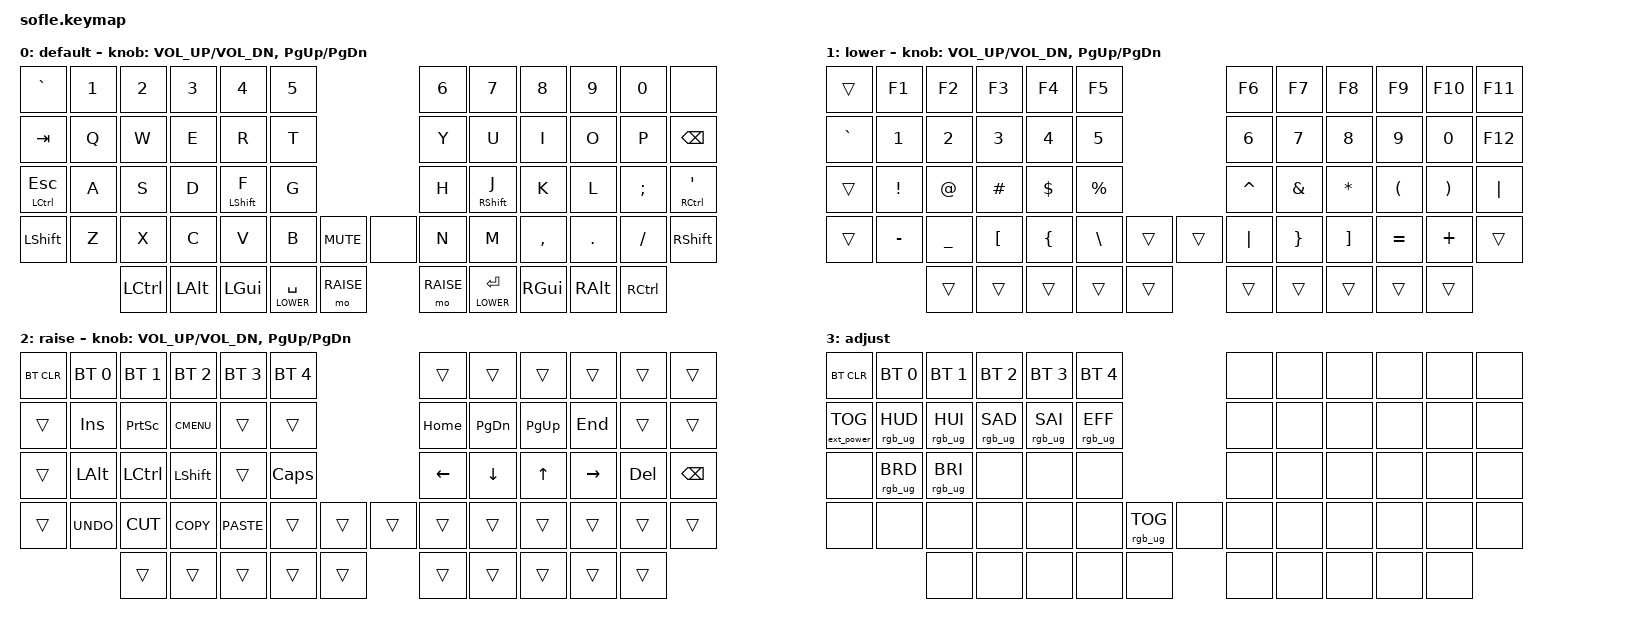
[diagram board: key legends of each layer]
/*
 * Copyright (c) 2020 The ZMK Contributors
 *
 * SPDX-License-Identifier: MIT
 */

#include <behaviors.dtsi>
#include <dt-bindings/zmk/keys.h>
#include <dt-bindings/zmk/bt.h>
#include <dt-bindings/zmk/rgb.h>
#include <dt-bindings/zmk/ext_power.h>

#define BASE 0
#define LOWER 1
#define RAISE 2
#define ADJUST 3
#define QUICK_TAP_MS 175

&mt {
  flavor = "balanced";
  tapping-term-ms = <200>;
  quick-tap-ms = <QUICK_TAP_MS>;
};


/ {
    combos {
        compatible = "zmk,combos";
        combo_studio_unlock {
            timeout-ms = <50>;
            key-positions = <0 1>;
            bindings = <&studio_unlock>;
        };
    };
};

/ {

   // Activate ADJUST layer by pressing raise and lower
    conditional_layers {
        compatible = "zmk,conditional-layers";
        adjust_layer {
            if-layers = <LOWER RAISE>;
            then-layer = <ADJUST>;
        };
    };

    keymap {
        compatible = "zmk,keymap";

        default_layer {
            display-name = "default";
// ------------------------------------------------------------------------------------------------------------
// |   `    |  1  |  2  |  3   |  4   |     5     |                   |     6     |  7    |  8    |  9   |   0   |       |
// |  TAB   |  Q  |  W  |  E   |  R   |     T     |                   |     Y     |  U    |  I    |  O   |   P   | BKSPC |
// | C/ESC  |  A  |  S  |  D   |Sht/F |     G     |                   |     H     | Sht/J |  K    |  L   |   ;   |   '   |
// | SHIFT  |  Z  |  X  |  C   |  V   |     B     |  MUTE  |  |       |     N     |  M    |  ,    |  .   |   /   | SHIFT |
//                | GUI | ALT  | CTRL | LWR/SPACE |  RAISE |  | RAISE | LWR/ENTER | CTRL  | ALT   | GUI  |
            bindings = <
&kp GRAVE      &kp N1 &kp N2       &kp N3       &kp N4       &kp N5                                   &kp N6       &kp N7      &kp N8    &kp N9   &kp N0   &none
&kp TAB        &kp Q  &kp W        &kp E        &kp R        &kp T                                    &kp Y        &kp U       &kp I     &kp O    &kp P    &kp BSPC
&mt LCTRL ESC  &kp A  &kp S        &kp D        &mt LSHFT F  &kp G                                    &kp H        &mt RSHFT J &kp K     &kp L    &kp SEMI &mt RCTRL SQT
&kp LSHFT      &kp Z  &kp X        &kp C        &kp V        &kp B              &kp C_MUTE  &none     &kp N        &kp M       &kp COMMA &kp DOT  &kp FSLH &kp RSHFT
                      &kp LCTRL    &kp LALT     &kp LGUI     &lt LOWER SPACE    &mo RAISE   &mo RAISE &lt LOWER RET      &kp RGUI    &kp RALT  &kp RCTRL
            >;

            sensor-bindings = <&inc_dec_kp C_VOL_UP C_VOL_DN &inc_dec_kp PG_UP PG_DN>;
        };

        lower_layer {
            display-name = "lower";
// TODO: Some binds are waiting for shifted keycode support.
// ------------------------------------------------------------------------------------------------------------
// |       |  F1 |  F2 |  F3  |  F4  |  F5  |                   |  F6  |  F7   |  F8   |  F9  |  F10  |  F11  |
// |   `   |  1  |  2  |  3   |  4   |  5   |                   |  6   |  7    |  8    |  9   |   0   |  F12  |
// |       |  !  |  @  |  #   |  $   |  %   |                   |  ^   |  &    |  *    |  (   |   )   |   |   |
// |       |  -  |  _  |  [   |  {   |  \   |        |  |       |  |   |  }    |  ]    |  =   |   +   |       |
//               |     |      |      |      |        |  |       |      |       |       |      |
            bindings = <
&trans    &kp F1    &kp F2    &kp F3      &kp F4    &kp F5                    &kp F6    &kp F7   &kp F8    &kp F9    &kp F10   &kp F11
&kp GRAVE &kp N1    &kp N2    &kp N3      &kp N4    &kp N5                    &kp N6    &kp N7   &kp N8    &kp N9    &kp N0    &kp F12
&trans    &kp EXCL  &kp AT    &kp HASH    &kp DLLR  &kp PRCNT                 &kp CARET &kp AMPS &kp ASTRK &kp LPAR  &kp RPAR  &kp PIPE
&trans    &kp MINUS &kp UNDER &kp LBKT    &kp LBRC  &kp BSLH   &trans  &trans &kp PIPE  &kp RBRC &kp RBKT  &kp EQUAL &kp PLUS  &trans
                    &trans    &trans      &trans    &trans     &trans &trans  &trans    &trans   &trans    &trans
            >;

            sensor-bindings = <&inc_dec_kp C_VOL_UP C_VOL_DN &inc_dec_kp PG_UP PG_DN>;
        };

        raise_layer {
            display-name = "raise";
// ------------------------------------------------------------------------------------------------------------
// | BTCLR | BT1  | BT2  |  BT3  |  BT4  |  BT5 |                |      |      |      |     |       |       |
// |       | INS  | PSCR | GUI   |       |      |                | HOME | PGUP | PGDN | END |       |       |
// |       | ALT  | CTRL | SHIFT |       | CAPS |                |  <-  |   v  |  ^   |  >  |  DEL  | BKSPC |
// |       | UNDO | CUT  | COPY  | PASTE |      |      |  |      |      |      |      |     |       |       |
//                |      |       |       |      |      |  |      |      |      |      |     |
            bindings = <
&bt BT_CLR &bt BT_SEL 0 &bt BT_SEL 1 &bt BT_SEL 2 &bt BT_SEL 3 &bt BT_SEL 4                  &trans     &trans    &trans     &trans    &trans  &trans
&trans     &kp INS      &kp PSCRN    &kp K_CMENU  &trans       &trans                        &kp HOME   &kp PG_DN &kp PG_UP  &kp END   &trans  &trans
&trans     &kp LALT     &kp LCTRL    &kp LSHFT    &trans       &kp CLCK                      &kp LEFT   &kp DOWN  &kp UP     &kp RIGHT &kp DEL &kp BSPC
&trans     &kp K_UNDO   &kp K_CUT    &kp K_COPY   &kp K_PASTE  &trans        &trans  &trans  &trans     &trans    &trans     &trans    &trans  &trans
                        &trans       &trans       &trans       &trans        &trans  &trans  &trans     &trans    &trans     &trans
            >;

            sensor-bindings = <&inc_dec_kp C_VOL_UP C_VOL_DN &inc_dec_kp PG_UP PG_DN>;
        };

        adjust_layer {
// ----------------------------------------------------------------------------------------------------------------------------
// | BTCLR  |  BT1    |  BT2    |   BT3   |   BT4   |   BT5   |                  |      |      |       |      |       |       |
// | EXTPWR | RGB_HUD | RGB_HUI | RGB_SAD | RGB_SAI | RGB_EFF |                  |      |      |       |      |       |       |
// |        | RGB_BRD | RGB_BRI |         |         |         |                  |      |      |       |      |       |       |
// |        |         |         |         |         |         | RGB_TOG | |      |      |      |       |      |       |       |
//                    |         |         |         |         |         | |      |      |      |       |      |
            display-name = "adjust";
            bindings = <
&bt BT_CLR        &bt BT_SEL 0    &bt BT_SEL 1    &bt BT_SEL 2    &bt BT_SEL 3    &bt BT_SEL 4                            &none &none &none &none &none &none
&ext_power EP_TOG &rgb_ug RGB_HUD &rgb_ug RGB_HUI &rgb_ug RGB_SAD &rgb_ug RGB_SAI &rgb_ug RGB_EFF                         &none &none &none &none &none &none
&none             &rgb_ug RGB_BRD &rgb_ug RGB_BRI &none           &none           &none                                   &none &none &none &none &none &none
&none             &none           &none           &none           &none           &none            &rgb_ug RGB_TOG &none  &none &none &none &none &none &none
                                  &none           &none           &none           &none            &none           &none  &none &none &none &none
            >;
        };

    };
};
